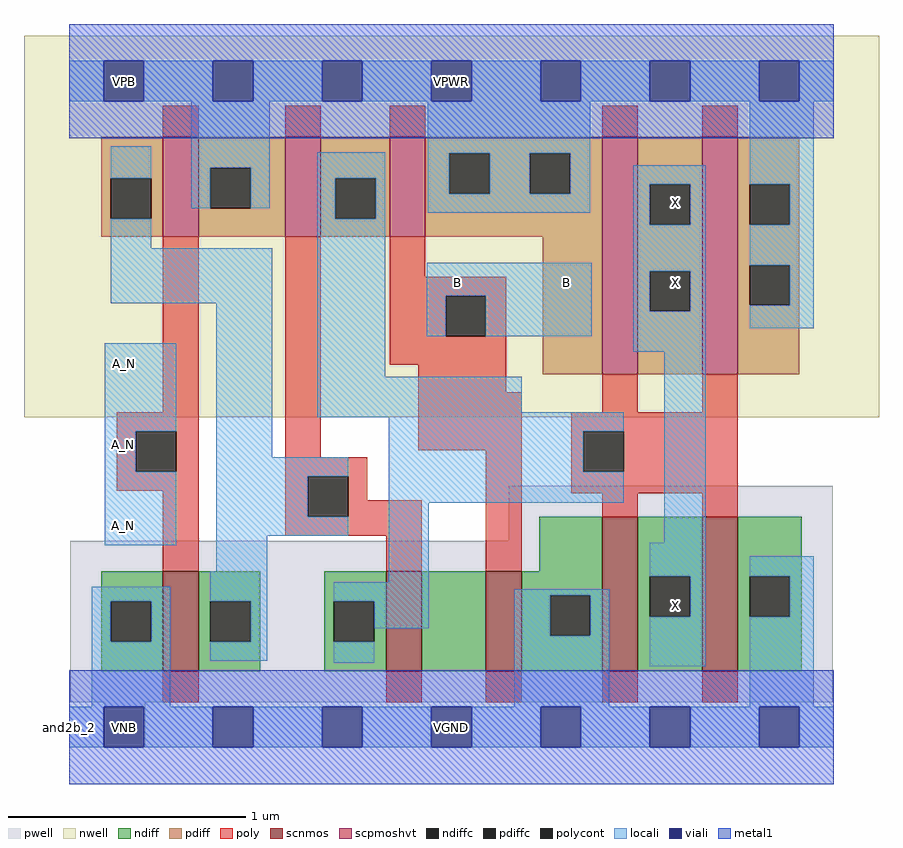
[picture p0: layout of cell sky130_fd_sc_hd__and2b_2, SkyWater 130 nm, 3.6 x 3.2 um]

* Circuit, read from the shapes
.subckt sky130_fd_sc_hd__and2b_2 A_N B VGND VNB VPB VPWR X
XM1 n1 A_N VGND VNB sky130_fd_pr__nfet_01v8 w=0.42 l=0.15
XM2 n2 n1 n3 VNB sky130_fd_pr__nfet_01v8 w=0.42 l=0.15
XM3 VGND B n2 VNB sky130_fd_pr__nfet_01v8 w=0.42 l=0.15
XM4 X n3 VGND VNB sky130_fd_pr__nfet_01v8 w=0.65 l=0.15 m=2
XM5 VPWR A_N n1 VPB sky130_fd_pr__pfet_01v8_hvt w=0.42 l=0.15
XM6 n3 n1 VPWR VPB sky130_fd_pr__pfet_01v8_hvt w=0.42 l=0.15
XM7 VPWR B n3 VPB sky130_fd_pr__pfet_01v8_hvt w=0.42 l=0.15
XM8 X n3 VPWR VPB sky130_fd_pr__pfet_01v8_hvt w=1 l=0.15 m=2
.ends

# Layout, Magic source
magic
tech sky130A
magscale 1 2
<< nwell >>
rect -38 261 682 582
<< pwell >>
rect 370 157 643 203
rect 1 21 643 157
rect 30 -17 64 21
<< scnmos >>
rect 79 47 109 131
rect 267 47 297 131
rect 351 47 381 131
rect 449 47 479 177
rect 533 47 563 177
<< scpmoshvt >>
rect 79 413 109 497
rect 182 413 212 497
rect 270 413 300 497
rect 449 297 479 497
rect 533 297 563 497
<< ndiff >>
rect 396 131 449 177
rect 27 106 79 131
rect 27 72 35 106
rect 69 72 79 106
rect 27 47 79 72
rect 109 106 161 131
rect 109 72 119 106
rect 153 72 161 106
rect 109 47 161 72
rect 215 106 267 131
rect 215 72 223 106
rect 257 72 267 106
rect 215 47 267 72
rect 297 47 351 131
rect 381 111 449 131
rect 381 77 405 111
rect 439 77 449 111
rect 381 47 449 77
rect 479 127 533 177
rect 479 93 489 127
rect 523 93 533 127
rect 479 47 533 93
rect 563 127 617 177
rect 563 93 573 127
rect 607 93 617 127
rect 563 47 617 93
<< pdiff >>
rect 27 462 79 497
rect 27 428 35 462
rect 69 428 79 462
rect 27 413 79 428
rect 109 471 182 497
rect 109 437 119 471
rect 153 437 182 471
rect 109 413 182 437
rect 212 462 270 497
rect 212 428 224 462
rect 258 428 270 462
rect 212 413 270 428
rect 300 483 449 497
rect 300 449 320 483
rect 354 449 388 483
rect 422 449 449 483
rect 300 413 449 449
rect 399 297 449 413
rect 479 457 533 497
rect 479 423 489 457
rect 523 423 533 457
rect 479 384 533 423
rect 479 350 489 384
rect 523 350 533 384
rect 479 297 533 350
rect 563 457 615 497
rect 563 423 573 457
rect 607 423 615 457
rect 563 389 615 423
rect 563 355 573 389
rect 607 355 615 389
rect 563 297 615 355
<< ndiffc >>
rect 35 72 69 106
rect 119 72 153 106
rect 223 72 257 106
rect 405 77 439 111
rect 489 93 523 127
rect 573 93 607 127
<< pdiffc >>
rect 35 428 69 462
rect 119 437 153 471
rect 224 428 258 462
rect 320 449 354 483
rect 388 449 422 483
rect 489 423 523 457
rect 489 350 523 384
rect 573 423 607 457
rect 573 355 607 389
<< poly >>
rect 79 497 109 523
rect 182 497 212 523
rect 270 497 300 523
rect 449 497 479 523
rect 533 497 563 523
rect 79 265 109 413
rect 40 249 109 265
rect 40 215 56 249
rect 90 215 109 249
rect 40 199 109 215
rect 79 131 109 199
rect 182 227 212 413
rect 270 379 300 413
rect 270 363 368 379
rect 270 329 317 363
rect 351 329 368 363
rect 270 305 368 329
rect 294 282 368 305
rect 294 233 381 282
rect 449 265 479 297
rect 533 265 563 297
rect 182 211 251 227
rect 182 177 201 211
rect 235 191 251 211
rect 235 177 297 191
rect 182 161 297 177
rect 267 131 297 161
rect 351 131 381 233
rect 423 249 563 265
rect 423 215 433 249
rect 467 215 563 249
rect 423 197 563 215
rect 449 177 479 197
rect 533 177 563 197
rect 79 21 109 47
rect 267 21 297 47
rect 351 21 381 47
rect 449 21 479 47
rect 533 21 563 47
<< polycont >>
rect 56 215 90 249
rect 317 329 351 363
rect 201 177 235 211
rect 433 215 467 249
<< locali >>
rect 0 527 29 561
rect 63 527 121 561
rect 155 527 213 561
rect 247 527 305 561
rect 339 527 397 561
rect 431 527 489 561
rect 523 527 581 561
rect 615 527 644 561
rect 35 462 69 489
rect 103 471 169 527
rect 103 437 119 471
rect 153 437 169 471
rect 209 462 266 484
rect 35 403 69 428
rect 209 428 224 462
rect 258 428 266 462
rect 302 483 439 527
rect 302 449 320 483
rect 354 449 388 483
rect 422 449 439 483
rect 302 433 439 449
rect 475 457 536 473
rect 35 357 171 403
rect 30 249 90 323
rect 30 215 56 249
rect 30 153 90 215
rect 124 227 171 357
rect 209 295 266 428
rect 475 423 489 457
rect 523 423 536 457
rect 301 363 440 391
rect 301 329 317 363
rect 351 329 440 363
rect 475 384 536 423
rect 475 350 489 384
rect 523 350 536 384
rect 475 316 536 350
rect 573 457 627 527
rect 607 423 627 457
rect 573 389 627 423
rect 607 355 627 389
rect 573 336 627 355
rect 209 265 381 295
rect 209 261 467 265
rect 269 249 467 261
rect 124 211 235 227
rect 124 177 201 211
rect 124 161 235 177
rect 269 215 433 249
rect 269 189 467 215
rect 124 131 167 161
rect 19 106 85 118
rect 19 72 35 106
rect 69 72 85 106
rect 19 17 85 72
rect 119 106 167 131
rect 269 122 303 189
rect 501 155 536 316
rect 153 72 167 106
rect 119 56 167 72
rect 223 106 303 122
rect 489 127 536 155
rect 257 83 303 106
rect 375 111 455 116
rect 223 54 257 72
rect 375 77 405 111
rect 439 77 455 111
rect 375 17 455 77
rect 523 93 536 127
rect 489 51 536 93
rect 573 127 627 144
rect 607 93 627 127
rect 573 17 627 93
rect 0 -17 29 17
rect 63 -17 121 17
rect 155 -17 213 17
rect 247 -17 305 17
rect 339 -17 397 17
rect 431 -17 489 17
rect 523 -17 581 17
rect 615 -17 644 17
<< viali >>
rect 29 527 63 561
rect 121 527 155 561
rect 213 527 247 561
rect 305 527 339 561
rect 397 527 431 561
rect 489 527 523 561
rect 581 527 615 561
rect 29 -17 63 17
rect 121 -17 155 17
rect 213 -17 247 17
rect 305 -17 339 17
rect 397 -17 431 17
rect 489 -17 523 17
rect 581 -17 615 17
<< metal1 >>
rect 0 561 644 592
rect 0 527 29 561
rect 63 527 121 561
rect 155 527 213 561
rect 247 527 305 561
rect 339 527 397 561
rect 431 527 489 561
rect 523 527 581 561
rect 615 527 644 561
rect 0 496 644 527
rect 0 17 644 48
rect 0 -17 29 17
rect 63 -17 121 17
rect 155 -17 213 17
rect 247 -17 305 17
rect 339 -17 397 17
rect 431 -17 489 17
rect 523 -17 581 17
rect 615 -17 644 17
rect 0 -48 644 -17
<< labels >>
flabel pwell s 30 -17 64 17 0 FreeSans 200 0 0 0 VNB
port 4 nsew ground bidirectional
flabel nwell s 30 527 64 561 0 FreeSans 200 0 0 0 VPB
port 5 nsew power bidirectional
flabel metal1 s 30 527 64 561 0 FreeSans 200 0 0 0 VPWR
port 6 nsew power bidirectional abutment
flabel metal1 s 30 -17 64 17 0 FreeSans 200 0 0 0 VGND
port 3 nsew ground bidirectional abutment
flabel locali s 494 425 528 459 0 FreeSans 200 0 0 0 X
port 7 nsew signal output
flabel locali s 419 374 419 374 0 FreeSans 400 0 0 0 B
flabel locali s 46 238 46 238 0 FreeSans 400 0 0 0 A_N
flabel locali s 511 102 511 102 0 FreeSans 200 0 0 0 X
flabel locali s 310 357 344 391 0 FreeSans 400 0 0 0 B
port 2 nsew signal input
flabel locali s 46 170 46 170 0 FreeSans 400 0 0 0 A_N
flabel locali s 30 289 64 323 0 FreeSans 400 0 0 0 A_N
port 1 nsew signal input
flabel locali s 511 374 511 374 0 FreeSans 200 0 0 0 X
rlabel comment s 0 0 0 0 4 and2b_2
rlabel metal1 s 0 -48 644 48 1 VGND
port 3 nsew ground bidirectional abutment
rlabel metal1 s 0 496 644 592 1 VPWR
port 6 nsew power bidirectional abutment
<< properties >>
string FIXED_BBOX 0 0 644 544
string GDS_END 3838950
string GDS_FILE $PDKPATH/libs.ref/sky130_fd_sc_hd/gds/sky130_fd_sc_hd.gds
string GDS_START 3833346
string LEFclass CORE
string LEFsite unithd
string LEFsymmetry X Y R90
string path 0.000 0.000 16.100 0.000 
<< end >>
